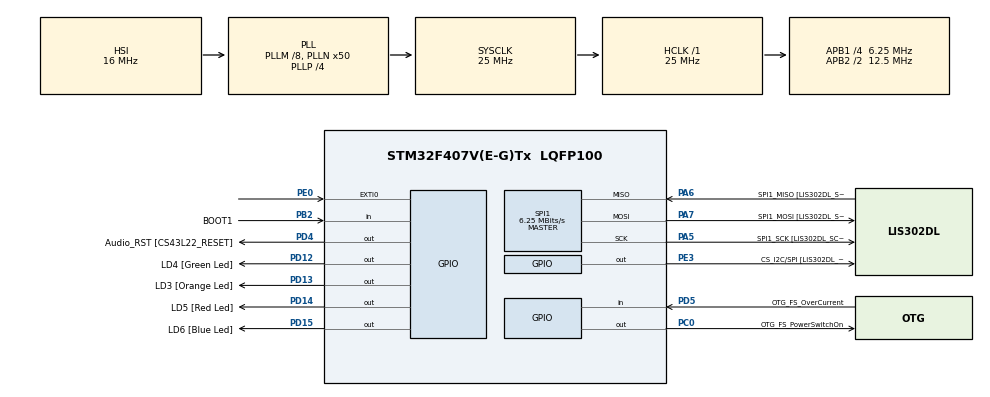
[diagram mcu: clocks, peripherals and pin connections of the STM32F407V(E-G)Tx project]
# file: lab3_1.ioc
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Mcu.Family=STM32F4
Mcu.Name=STM32F407V(E-G)Tx
Mcu.Package=LQFP100
NVIC.EXTI0_IRQn=true\:5\:0\:true\:false\:true\:true\:true\:true
NVIC.PriorityGroup=NVIC_PRIORITYGROUP_4
NVIC.TIM7_IRQn=true\:15\:0\:false\:false\:true\:false\:true\:true
NVIC.TimeBase=TIM7_IRQn
NVIC.TimeBaseIP=TIM7
PA10.GPIO_Label=OTG_FS_ID
PA10.GPIO_Mode=GPIO_MODE_AF_PP
PA10.GPIO_PuPd=GPIO_NOPULL
PA10.GPIO_Speed=GPIO_SPEED_FREQ_LOW
PA10.Signal=USB_OTG_FS_ID
PA11.GPIO_Label=OTG_FS_DM
PA11.GPIO_Mode=GPIO_MODE_AF_PP
PA11.GPIO_PuPd=GPIO_NOPULL
PA11.GPIO_Speed=GPIO_SPEED_FREQ_LOW
PA11.Signal=USB_OTG_FS_DM
PA12.GPIO_Label=OTG_FS_DP
PA12.GPIO_Mode=GPIO_MODE_AF_PP
PA12.GPIO_PuPd=GPIO_NOPULL
PA12.GPIO_Speed=GPIO_SPEED_FREQ_LOW
PA12.Signal=USB_OTG_FS_DP
PA13.GPIO_Label=SWDIO
PA13.Mode=Serial_Wire
PA13.Signal=SYS_JTMS-SWDIO
PA14.GPIO_Label=SWCLK
PA14.Mode=Serial_Wire
PA14.Signal=SYS_JTCK-SWCLK
PA4.GPIO_Label=I2S3_WS [CS43L22_LRCK]
PA4.GPIO_Mode=GPIO_MODE_AF_PP
PA4.GPIO_PuPd=GPIO_NOPULL
PA4.GPIO_Speed=GPIO_SPEED_FREQ_LOW
PA4.Signal=I2S3_WS
PA5.GPIO_Label=SPI1_SCK [LIS302DL_SCL/SPC]
PA5.GPIO_Mode=GPIO_MODE_AF_PP
PA5.GPIO_PuPd=GPIO_NOPULL
PA5.GPIO_Speed=GPIO_SPEED_FREQ_LOW
PA5.Mode=Full_Duplex_Master
PA5.Signal=SPI1_SCK
PA6.GPIO_Label=SPI1_MISO [LIS302DL_SDO]
PA6.GPIO_Mode=GPIO_MODE_AF_PP
PA6.GPIO_PuPd=GPIO_NOPULL
PA6.GPIO_Speed=GPIO_SPEED_FREQ_LOW
PA6.Mode=Full_Duplex_Master
PA6.Signal=SPI1_MISO
PA7.GPIO_Label=SPI1_MOSI [LIS302DL_SDA/SDI/SDO]
PA7.GPIO_Mode=GPIO_MODE_AF_PP
PA7.GPIO_PuPd=GPIO_NOPULL
PA7.GPIO_Speed=GPIO_SPEED_FREQ_LOW
PA7.Mode=Full_Duplex_Master
PA7.Signal=SPI1_MOSI
PA9.GPIO_Label=VBUS_FS
PA9.GPIO_Mode=GPIO_MODE_INPUT
PA9.GPIO_PuPd=GPIO_NOPULL
PA9.Signal=USB_OTG_FS_VBUS
PB10.GPIO_Label=CLK_IN [MP45DT02_CLK]
PB10.GPIO_Mode=GPIO_MODE_AF_PP
PB10.GPIO_PuPd=GPIO_NOPULL
PB10.GPIO_Speed=GPIO_SPEED_FREQ_LOW
PB10.Signal=I2S2_CK
PB2.GPIO_Label=BOOT1
PB2.GPIO_Mode=GPIO_MODE_INPUT
PB2.GPIO_PuPd=GPIO_NOPULL
PB2.Signal=GPIO_Input
PB3.GPIO_Label=SWO
PB3.Signal=SYS_JTDO-SWO
PB6.GPIO_Label=Audio_SCL [CS43L22_SCL]
PB6.GPIO_Mode=GPIO_MODE_AF_OD
PB6.GPIO_PuPd=GPIO_NOPULL
PB6.GPIO_Speed=GPIO_SPEED_FREQ_LOW
PB6.Signal=I2C1_SCL
PB9.GPIO_Label=Audio_SDA [CS43L22_SDA]
PB9.GPIO_Mode=GPIO_MODE_AF_OD
PB9.GPIO_PuPd=GPIO_NOPULL
PB9.GPIO_Speed=GPIO_SPEED_FREQ_LOW
PB9.Signal=I2C1_SDA
PC0.GPIO_Label=OTG_FS_PowerSwitchOn
PC0.GPIO_PuPd=GPIO_NOPULL
PC0.GPIO_Speed=GPIO_SPEED_FREQ_LOW
PC0.PinState=GPIO_PIN_SET
PC0.Signal=GPIO_Output
PC10.GPIO_Label=I2S3_SCK [CS43L22_SCLK]
PC10.GPIO_Mode=GPIO_MODE_AF_PP
PC10.GPIO_PuPd=GPIO_NOPULL
PC10.GPIO_Speed=GPIO_SPEED_FREQ_LOW
PC10.Signal=I2S3_CK
PC12.GPIO_Label=I2S3_SD [CS43L22_SDIN]
PC12.GPIO_Mode=GPIO_MODE_AF_PP
PC12.GPIO_PuPd=GPIO_NOPULL
PC12.GPIO_Speed=GPIO_SPEED_FREQ_LOW
PC12.Signal=I2S3_SD
PC14-OSC32_IN.GPIO_Label=PC14-OSC32_IN
PC14-OSC32_IN.Signal=RCC_OSC32_IN
PC15-OSC32_OUT.GPIO_Label=PC15-OSC32_OUT
PC15-OSC32_OUT.Signal=RCC_OSC32_OUT
PC3.GPIO_Label=PDM_OUT [MP45DT02_DOUT]
PC3.GPIO_Mode=GPIO_MODE_AF_PP
PC3.GPIO_PuPd=GPIO_NOPULL
PC3.GPIO_Speed=GPIO_SPEED_FREQ_LOW
PC3.Signal=I2S2_SD
PC7.GPIO_Label=I2S3_MCK [CS43L22_MCLK]
PC7.GPIO_Mode=GPIO_MODE_AF_PP
PC7.GPIO_PuPd=GPIO_NOPULL
PC7.GPIO_Speed=GPIO_SPEED_FREQ_LOW
PC7.Signal=I2S3_MCK
PD12.GPIO_Label=LD4 [Green Led]
PD12.GPIO_PuPd=GPIO_NOPULL
PD12.GPIO_Speed=GPIO_SPEED_FREQ_LOW
PD12.Signal=GPIO_Output
PD13.GPIO_Label=LD3 [Orange Led]
PD13.GPIO_PuPd=GPIO_NOPULL
PD13.GPIO_Speed=GPIO_SPEED_FREQ_LOW
PD13.Signal=GPIO_Output
PD14.GPIO_Label=LD5 [Red Led]
PD14.GPIO_PuPd=GPIO_NOPULL
PD14.GPIO_Speed=GPIO_SPEED_FREQ_LOW
PD14.Signal=GPIO_Output
PD15.GPIO_Label=LD6 [Blue Led]
PD15.GPIO_PuPd=GPIO_NOPULL
PD15.GPIO_Speed=GPIO_SPEED_FREQ_LOW
PD15.Signal=GPIO_Output
PD4.GPIO_Label=Audio_RST [CS43L22_RESET]
PD4.GPIO_PuPd=GPIO_NOPULL
PD4.GPIO_Speed=GPIO_SPEED_FREQ_LOW
PD4.Signal=GPIO_Output
PD5.GPIO_Label=OTG_FS_OverCurrent
PD5.GPIO_Mode=GPIO_MODE_INPUT
PD5.GPIO_PuPd=GPIO_NOPULL
PD5.Signal=GPIO_Input
PE0.Signal=GPXTI0
PE3.GPIO_Label=CS_I2C/SPI [LIS302DL_CS_I2C/SPI]
PE3.GPIO_PuPd=GPIO_NOPULL
PE3.GPIO_Speed=GPIO_SPEED_FREQ_LOW
PE3.Signal=GPIO_Output
PH0-OSC_IN.GPIO_Label=PH0-OSC_IN
PH0-OSC_IN.Signal=RCC_OSC_IN
PH1-OSC_OUT.GPIO_Label=PH1-OSC_OUT
PH1-OSC_OUT.Signal=RCC_OSC_OUT
ProjectManager.HeapSize=0x200
ProjectManager.StackSize=0x400
ProjectManager.TargetToolchain=STM32CubeIDE
RCC.48MHZClocksFreq_Value=14285714.285714285
RCC.AHBFreq_Value=25000000
RCC.APB1CLKDivider=RCC_HCLK_DIV4
RCC.APB1Freq_Value=6250000
RCC.APB1TimFreq_Value=12500000
RCC.APB2CLKDivider=RCC_HCLK_DIV2
RCC.APB2Freq_Value=12500000
RCC.APB2TimFreq_Value=25000000
RCC.CortexFreq_Value=25000000
RCC.HCLKFreq_Value=25000000
RCC.HSE_VALUE=8000000
RCC.HSI_VALUE=16000000
RCC.LSE_VALUE=32768
RCC.PLLM=8
RCC.PLLN=50
RCC.PLLP=RCC_PLLP_DIV4
RCC.PLLQ=7
RCC.SYSCLKFreq_VALUE=25000000
RCC.SYSCLKSource=RCC_SYSCLKSOURCE_PLLCLK
RCC.VCOOutputFreq_Value=100000000
SPI1.CalculateBaudRate=6.25 MBits/s
SPI1.Direction=SPI_DIRECTION_2LINES
SPI1.Mode=SPI_MODE_MASTER
SPI1.VirtualType=VM_MASTER
VP_SYS_VS_tim7.Mode=TIM7
board=STM32F407G-DISC1

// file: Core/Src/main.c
/* USER CODE BEGIN Header */
/**
  ******************************************************************************
  * @file           : main.c
  * @brief          : Main program body
  ******************************************************************************
  * @attention
  *
  * <h2><center>&copy; Copyright (c) 2021 STMicroelectronics.
  * All rights reserved.</center></h2>
  *
  * This software component is licensed by ST under BSD 3-Clause license,
  * the "License"; You may not use this file except in compliance with the
  * License. You may obtain a copy of the License at:
  *                        opensource.org/licenses/BSD-3-Clause
  *
  ******************************************************************************
  */
/* USER CODE END Header */
#include "main.h"

/* USER CODE BEGIN Includes */
#include "FreeRTOS.h"
#include "task.h"
#include "semphr.h"

/* USER CODE END Includes */

/* USER CODE BEGIN PM */
#define LIS3DSH_WHO_AM_I_ADDR                0x0F
#define LIS3DSH_STAT_ADDR                    0x18
#define LIS3DSH_CTRL_REG4_ADDR               0x20
#define LIS3DSH_CTRL_REG1_ADDR               0x21
#define LIS3DSH_CTRL_REG2_ADDR               0x22
#define LIS3DSH_CTRL_REG3_ADDR               0x23
#define LIS3DSH_CTRL_REG5_ADDR               0x24
#define LIS3DSH_CTRL_REG6_ADDR               0x25

#define LIS3DSH_STATUS_ADDR                  0x27

#define LIS3DSH_OUT_X_L_ADDR                 0x28
#define LIS3DSH_OUT_X_H_ADDR                 0x29
#define LIS3DSH_OUT_Y_L_ADDR                 0x2A
#define LIS3DSH_OUT_Y_H_ADDR                 0x2B
#define LIS3DSH_OUT_Z_L_ADDR                 0x2C
#define LIS3DSH_OUT_Z_H_ADDR                 0x2D

#define LIS3DSH_ST1_1_ADDR                   0x40
#define LIS3DSH_ST1_2_ADDR                   0x41
#define LIS3DSH_THRS1_1_ADDR                 0x57
#define LIS3DSH_MASK1_B_ADDR                 0x59
#define LIS3DSH_MASK1_A_ADDR                 0x5A
#define LIS3DSH_SETT1_ADDR                   0x5B
#define LIS3DSH_OUTS1_ADDR                   0x5F
/* USER CODE END PM */

SPI_HandleTypeDef hspi1;

/* USER CODE BEGIN PV */
SemaphoreHandle_t xSemaphore;
TaskHandle_t Task_1_Handle;
uint8_t data;
/* USER CODE END PV */

void SystemClock_Config(void);
static void MX_GPIO_Init(void);
static void MX_SPI1_Init(void);

/* USER CODE BEGIN 0 */
void MEMS_Write(uint8_t address,uint8_t data){
	HAL_GPIO_WritePin(GPIOE, GPIO_PIN_3, GPIO_PIN_RESET);
	HAL_SPI_Transmit(&hspi1,&address,1,10);
	HAL_SPI_Transmit(&hspi1,&data,1,10);
	HAL_GPIO_WritePin(GPIOE, GPIO_PIN_3,GPIO_PIN_SET);
}
void MEMS_Read(uint8_t address,uint8_t *data){
    address |= 0x80;
	HAL_GPIO_WritePin(GPIOE,GPIO_PIN_3,GPIO_PIN_RESET);
	HAL_SPI_Transmit(&hspi1,&address,1,10);
	HAL_SPI_Receive(&hspi1,data,1,10);
	HAL_GPIO_WritePin(GPIOE,GPIO_PIN_3,GPIO_PIN_SET);
}
void Reset_Interupt()
{
	  MEMS_Write(0x21,0x01);
	  MEMS_Write(0x23,0x48);
	  MEMS_Write(0x20,0x67);
	  MEMS_Write(0x24,0x00);
	  MEMS_Write(0x57,0x55);
	  MEMS_Write(0x40,0x05);
	  MEMS_Write(0x41,0x11);
	  MEMS_Write(0x59,0xFC);
	  MEMS_Write(0x5A,0xFC);
	  MEMS_Write(0x5B,0x01);
}
void Green_LED_Task(void *pvParameters)
{
	for(;;)
	{
	   	HAL_GPIO_TogglePin(GPIOD, GPIO_PIN_12);
		vTaskDelay(1000);

	}
}

SemaphoreHandle_t xSemaphore;
void vHandlerTask( void *pvParameters )
{
    for(;;)
    {
    	/* if take the Semaphore*/
        if(xSemaphoreTake(xSemaphore,99999)==pdTRUE)
        {
        	MEMS_Write(0x30,0x00);
            /* Orange LED blinking 5 times */
            for (int i = 0; i < 10;i++)
            {
            	HAL_GPIO_TogglePin(GPIOD,GPIO_PIN_13);
            	/* wait 250 ms */
            	uint32_t From_begin_time = xTaskGetTickCount();//must use the function
            	while (xTaskGetTickCount()-From_begin_time< 250/portTICK_PERIOD_MS)
            	{
            		;
            	}
    	    }
            Reset_Interupt();
        }
    }
}
/* USER CODE END 0 */

int main(void)
{

  /* MCU Configuration--------------------------------------------------------*/

  /* Reset of all peripherals, Initializes the Flash interface and the Systick. */
  HAL_Init();

  /* Configure the system clock */
  SystemClock_Config();

  /* Initialize all configured peripherals */
  MX_GPIO_Init();
  MX_SPI1_Init();
  /* USER CODE BEGIN 2 */
  // 寫入 register //
  Reset_Interupt();

  // Create the semaphore //
  xSemaphore = xSemaphoreCreateBinary();

  // task create //
  xTaskCreate(
    		  	  Green_LED_Task,
        		  "Green_LED_Task",
        		  128,
        		  NULL,
        		  1,
        		  NULL);
  vTaskStartScheduler();
  // USER CODE END 2 //

  /* Infinite loop */
  while (1)
  {

  }
}
void SystemClock_Config(void)
{
  RCC_OscInitTypeDef RCC_OscInitStruct = {0};
  RCC_ClkInitTypeDef RCC_ClkInitStruct = {0};

  /** Configure the main internal regulator output voltage
  */
  __HAL_RCC_PWR_CLK_ENABLE();
  __HAL_PWR_VOLTAGESCALING_CONFIG(PWR_REGULATOR_VOLTAGE_SCALE1);
  /** Initializes the RCC Oscillators according to the specified parameters
  * in the RCC_OscInitTypeDef structure.
  */
  RCC_OscInitStruct.OscillatorType = RCC_OSCILLATORTYPE_HSI;
  RCC_OscInitStruct.HSIState = RCC_HSI_ON;
  RCC_OscInitStruct.HSICalibrationValue = RCC_HSICALIBRATION_DEFAULT;
  RCC_OscInitStruct.PLL.PLLState = RCC_PLL_ON;
  RCC_OscInitStruct.PLL.PLLSource = RCC_PLLSOURCE_HSI;
  RCC_OscInitStruct.PLL.PLLM = 8;
  RCC_OscInitStruct.PLL.PLLN = 50;
  RCC_OscInitStruct.PLL.PLLP = RCC_PLLP_DIV4;
  RCC_OscInitStruct.PLL.PLLQ = 7;
  if (HAL_RCC_OscConfig(&RCC_OscInitStruct) != HAL_OK)
  {
    Error_Handler();
  }
  /** Initializes the CPU, AHB and APB buses clocks
  */
  RCC_ClkInitStruct.ClockType = RCC_CLOCKTYPE_HCLK|RCC_CLOCKTYPE_SYSCLK
                              |RCC_CLOCKTYPE_PCLK1|RCC_CLOCKTYPE_PCLK2;
  RCC_ClkInitStruct.SYSCLKSource = RCC_SYSCLKSOURCE_PLLCLK;
  RCC_ClkInitStruct.AHBCLKDivider = RCC_SYSCLK_DIV1;
  RCC_ClkInitStruct.APB1CLKDivider = RCC_HCLK_DIV4;
  RCC_ClkInitStruct.APB2CLKDivider = RCC_HCLK_DIV2;

  if (HAL_RCC_ClockConfig(&RCC_ClkInitStruct, FLASH_LATENCY_0) != HAL_OK)
  {
    Error_Handler();
  }
}
static void MX_SPI1_Init(void)
{

  /* SPI1 parameter configuration*/
  hspi1.Instance = SPI1;
  hspi1.Init.Mode = SPI_MODE_MASTER;
  hspi1.Init.Direction = SPI_DIRECTION_2LINES;
  hspi1.Init.DataSize = SPI_DATASIZE_8BIT;
  hspi1.Init.CLKPolarity = SPI_POLARITY_LOW;
  hspi1.Init.CLKPhase = SPI_PHASE_1EDGE;
  hspi1.Init.NSS = SPI_NSS_SOFT;
  hspi1.Init.BaudRatePrescaler = SPI_BAUDRATEPRESCALER_2;
  hspi1.Init.FirstBit = SPI_FIRSTBIT_MSB;
  hspi1.Init.TIMode = SPI_TIMODE_DISABLE;
  hspi1.Init.CRCCalculation = SPI_CRCCALCULATION_DISABLE;
  hspi1.Init.CRCPolynomial = 10;
  if (HAL_SPI_Init(&hspi1) != HAL_OK)
  {
    Error_Handler();
  }

}

static void MX_GPIO_Init(void)
{
  GPIO_InitTypeDef GPIO_InitStruct = {0};

  /* GPIO Ports Clock Enable */
  __HAL_RCC_GPIOE_CLK_ENABLE();
  __HAL_RCC_GPIOC_CLK_ENABLE();
  __HAL_RCC_GPIOH_CLK_ENABLE();
  __HAL_RCC_GPIOA_CLK_ENABLE();
  __HAL_RCC_GPIOB_CLK_ENABLE();
  __HAL_RCC_GPIOD_CLK_ENABLE();

  /*Configure GPIO pin Output Level */
  HAL_GPIO_WritePin(CS_I2C_SPI_GPIO_Port, CS_I2C_SPI_Pin, GPIO_PIN_RESET);

  /*Configure GPIO pin Output Level */
  HAL_GPIO_WritePin(OTG_FS_PowerSwitchOn_GPIO_Port, OTG_FS_PowerSwitchOn_Pin, GPIO_PIN_SET);

  /*Configure GPIO pin Output Level */
  HAL_GPIO_WritePin(GPIOD, LD4_Pin|LD3_Pin|LD5_Pin|LD6_Pin
                          |Audio_RST_Pin, GPIO_PIN_RESET);

  /*Configure GPIO pin : CS_I2C_SPI_Pin */
  GPIO_InitStruct.Pin = CS_I2C_SPI_Pin;
  GPIO_InitStruct.Mode = GPIO_MODE_OUTPUT_PP;
  GPIO_InitStruct.Pull = GPIO_NOPULL;
  GPIO_InitStruct.Speed = GPIO_SPEED_FREQ_LOW;
  HAL_GPIO_Init(CS_I2C_SPI_GPIO_Port, &GPIO_InitStruct);

  /*Configure GPIO pin : OTG_FS_PowerSwitchOn_Pin */
  GPIO_InitStruct.Pin = OTG_FS_PowerSwitchOn_Pin;
  GPIO_InitStruct.Mode = GPIO_MODE_OUTPUT_PP;
  GPIO_InitStruct.Pull = GPIO_NOPULL;
  GPIO_InitStruct.Speed = GPIO_SPEED_FREQ_LOW;
  HAL_GPIO_Init(OTG_FS_PowerSwitchOn_GPIO_Port, &GPIO_InitStruct);

  /*Configure GPIO pin : PDM_OUT_Pin */
  GPIO_InitStruct.Pin = PDM_OUT_Pin;
  GPIO_InitStruct.Mode = GPIO_MODE_AF_PP;
  GPIO_InitStruct.Pull = GPIO_NOPULL;
  GPIO_InitStruct.Speed = GPIO_SPEED_FREQ_LOW;
  GPIO_InitStruct.Alternate = GPIO_AF5_SPI2;
  HAL_GPIO_Init(PDM_OUT_GPIO_Port, &GPIO_InitStruct);

  /*Configure GPIO pin : I2S3_WS_Pin */
  GPIO_InitStruct.Pin = I2S3_WS_Pin;
  GPIO_InitStruct.Mode = GPIO_MODE_AF_PP;
  GPIO_InitStruct.Pull = GPIO_NOPULL;
  GPIO_InitStruct.Speed = GPIO_SPEED_FREQ_LOW;
  GPIO_InitStruct.Alternate = GPIO_AF6_SPI3;
  HAL_GPIO_Init(I2S3_WS_GPIO_Port, &GPIO_InitStruct);

  /*Configure GPIO pin : BOOT1_Pin */
  GPIO_InitStruct.Pin = BOOT1_Pin;
  GPIO_InitStruct.Mode = GPIO_MODE_INPUT;
  GPIO_InitStruct.Pull = GPIO_NOPULL;
  HAL_GPIO_Init(BOOT1_GPIO_Port, &GPIO_InitStruct);

  /*Configure GPIO pin : CLK_IN_Pin */
  GPIO_InitStruct.Pin = CLK_IN_Pin;
  GPIO_InitStruct.Mode = GPIO_MODE_AF_PP;
  GPIO_InitStruct.Pull = GPIO_NOPULL;
  GPIO_InitStruct.Speed = GPIO_SPEED_FREQ_LOW;
  GPIO_InitStruct.Alternate = GPIO_AF5_SPI2;
  HAL_GPIO_Init(CLK_IN_GPIO_Port, &GPIO_InitStruct);

  /*Configure GPIO pins : LD4_Pin LD3_Pin LD5_Pin LD6_Pin
                           Audio_RST_Pin */
  GPIO_InitStruct.Pin = LD4_Pin|LD3_Pin|LD5_Pin|LD6_Pin
                          |Audio_RST_Pin;
  GPIO_InitStruct.Mode = GPIO_MODE_OUTPUT_PP;
  GPIO_InitStruct.Pull = GPIO_NOPULL;
  GPIO_InitStruct.Speed = GPIO_SPEED_FREQ_LOW;
  HAL_GPIO_Init(GPIOD, &GPIO_InitStruct);

  /*Configure GPIO pins : I2S3_MCK_Pin I2S3_SCK_Pin I2S3_SD_Pin */
  GPIO_InitStruct.Pin = I2S3_MCK_Pin|I2S3_SCK_Pin|I2S3_SD_Pin;
  GPIO_InitStruct.Mode = GPIO_MODE_AF_PP;
  GPIO_InitStruct.Pull = GPIO_NOPULL;
  GPIO_InitStruct.Speed = GPIO_SPEED_FREQ_LOW;
  GPIO_InitStruct.Alternate = GPIO_AF6_SPI3;
  HAL_GPIO_Init(GPIOC, &GPIO_InitStruct);

  /*Configure GPIO pin : VBUS_FS_Pin */
  GPIO_InitStruct.Pin = VBUS_FS_Pin;
  GPIO_InitStruct.Mode = GPIO_MODE_INPUT;
  GPIO_InitStruct.Pull = GPIO_NOPULL;
  HAL_GPIO_Init(VBUS_FS_GPIO_Port, &GPIO_InitStruct);

  /*Configure GPIO pins : OTG_FS_ID_Pin OTG_FS_DM_Pin OTG_FS_DP_Pin */
  GPIO_InitStruct.Pin = OTG_FS_ID_Pin|OTG_FS_DM_Pin|OTG_FS_DP_Pin;
  GPIO_InitStruct.Mode = GPIO_MODE_AF_PP;
  GPIO_InitStruct.Pull = GPIO_NOPULL;
  GPIO_InitStruct.Speed = GPIO_SPEED_FREQ_LOW;
  GPIO_InitStruct.Alternate = GPIO_AF10_OTG_FS;
  HAL_GPIO_Init(GPIOA, &GPIO_InitStruct);

  /*Configure GPIO pin : OTG_FS_OverCurrent_Pin */
  GPIO_InitStruct.Pin = OTG_FS_OverCurrent_Pin;
  GPIO_InitStruct.Mode = GPIO_MODE_INPUT;
  GPIO_InitStruct.Pull = GPIO_NOPULL;
  HAL_GPIO_Init(OTG_FS_OverCurrent_GPIO_Port, &GPIO_InitStruct);

  /*Configure GPIO pins : Audio_SCL_Pin Audio_SDA_Pin */
  GPIO_InitStruct.Pin = Audio_SCL_Pin|Audio_SDA_Pin;
  GPIO_InitStruct.Mode = GPIO_MODE_AF_OD;
  GPIO_InitStruct.Pull = GPIO_NOPULL;
  GPIO_InitStruct.Speed = GPIO_SPEED_FREQ_LOW;
  GPIO_InitStruct.Alternate = GPIO_AF4_I2C1;
  HAL_GPIO_Init(GPIOB, &GPIO_InitStruct);

  /*Configure GPIO pin : PE0 */
  GPIO_InitStruct.Pin = GPIO_PIN_0;
  GPIO_InitStruct.Mode = GPIO_MODE_IT_RISING;
  GPIO_InitStruct.Pull = GPIO_NOPULL;
  HAL_GPIO_Init(GPIOE, &GPIO_InitStruct);

  /* EXTI interrupt init*/
  HAL_NVIC_SetPriority(EXTI0_IRQn, 6, 0);
  HAL_NVIC_EnableIRQ(EXTI0_IRQn);

}

/* USER CODE BEGIN 4 */
void HAL_GPIO_EXTI_Callback(uint16_t GPIO_PIN)
{
	/* switch Red LED state */
	HAL_GPIO_TogglePin(GPIOD,GPIO_PIN_14);
	/* semaphore give */
	BaseType_t xHigherPriorityTaskWoken;
	xHigherPriorityTaskWoken = pdFALSE;
	xSemaphoreGiveFromISR( xSemaphore, &xHigherPriorityTaskWoken);
	portYIELD_FROM_ISR( xHigherPriorityTaskWoken );
}
/* USER CODE END 4 */

void HAL_TIM_PeriodElapsedCallback(TIM_HandleTypeDef *htim)
{
  if (htim->Instance == TIM7) {
    HAL_IncTick();
  }
}

void Error_Handler(void)
{
  __disable_irq();
  while (1)
  {
  }
}
